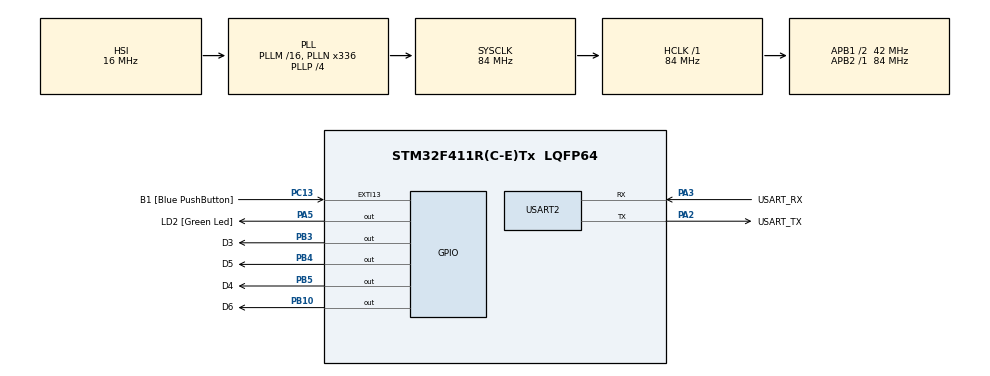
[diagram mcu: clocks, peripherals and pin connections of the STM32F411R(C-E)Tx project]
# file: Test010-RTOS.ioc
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FREERTOS.BinarySemaphores01=myBinarySem01,Dynamic,NULL
FREERTOS.Tasks01=myTask01,0,128,myStartTask01,Default,NULL,Dynamic,NULL,NULL;myTask02,-1,128,myStartTask02,Default,NULL,Dynamic,NULL,NULL;myTask03,-2,128,StartTask03,Default,NULL,Dynamic,NULL,NULL;myTask04,-3,128,StartTask04,Default,NULL,Dynamic,NULL,NULL
FREERTOS.configUSE_NEWLIB_REENTRANT=1
Mcu.Family=STM32F4
Mcu.Name=STM32F411R(C-E)Tx
Mcu.Package=LQFP64
NVIC.EXTI15_10_IRQn=true\:5\:0\:false\:false\:true\:true\:true\:true\:true
NVIC.PriorityGroup=NVIC_PRIORITYGROUP_4
NVIC.TIM1_UP_TIM10_IRQn=true\:15\:0\:false\:false\:true\:false\:false\:true\:true
NVIC.TimeBase=TIM1_UP_TIM10_IRQn
NVIC.TimeBaseIP=TIM10
PA13.GPIO_Label=TMS
PA13.Mode=Serial_Wire
PA13.Signal=SYS_JTMS-SWDIO
PA14.GPIO_Label=TCK
PA14.Mode=Serial_Wire
PA14.Signal=SYS_JTCK-SWCLK
PA2.GPIO_Label=USART_TX
PA2.Mode=Asynchronous
PA2.Signal=USART2_TX
PA3.GPIO_Label=USART_RX
PA3.Mode=Asynchronous
PA3.Signal=USART2_RX
PA5.GPIO_Label=LD2 [Green Led]
PA5.Signal=GPIO_Output
PB10.GPIO_Label=D6
PB10.Signal=GPIO_Output
PB3.GPIO_Label=D3
PB3.Signal=GPIO_Output
PB4.GPIO_Label=D5
PB4.Signal=GPIO_Output
PB5.GPIO_Label=D4
PB5.Signal=GPIO_Output
PC13-ANTI_TAMP.GPIO_Label=B1 [Blue PushButton]
PC13-ANTI_TAMP.GPIO_ModeDefaultEXTI=GPIO_MODE_IT_FALLING
PC13-ANTI_TAMP.Signal=GPXTI13
PC14-OSC32_IN.Mode=LSE-External-Oscillator
PC14-OSC32_IN.Signal=RCC_OSC32_IN
PC15-OSC32_OUT.Mode=LSE-External-Oscillator
PC15-OSC32_OUT.Signal=RCC_OSC32_OUT
PH0\ -\ OSC_IN.Mode=HSE-External-Clock-Source
PH0\ -\ OSC_IN.Signal=RCC_OSC_IN
PH1\ -\ OSC_OUT.Mode=HSE-External-Clock-Source
PH1\ -\ OSC_OUT.Signal=RCC_OSC_OUT
ProjectManager.HeapSize=0x200
ProjectManager.StackSize=0x400
ProjectManager.TargetToolchain=STM32CubeIDE
RCC.48MHZClocksFreq_Value=84000000
RCC.AHBFreq_Value=84000000
RCC.APB1CLKDivider=RCC_HCLK_DIV2
RCC.APB1Freq_Value=42000000
RCC.APB1TimFreq_Value=84000000
RCC.APB2Freq_Value=84000000
RCC.APB2TimFreq_Value=84000000
RCC.CortexFreq_Value=84000000
RCC.FLatency-AdvancedSettings=FLASH_LATENCY_2
RCC.HCLKFreq_Value=84000000
RCC.HSE_VALUE=8000000
RCC.HSI_VALUE=16000000
RCC.PLLN=336
RCC.PLLP=RCC_PLLP_DIV4
RCC.SYSCLKFreq_VALUE=84000000
RCC.SYSCLKSource=RCC_SYSCLKSOURCE_PLLCLK
RCC.VCOOutputFreq_Value=336000000
USART2.VirtualMode=VM_ASYNC
VP_FREERTOS_VS_CMSIS_V1.Mode=CMSIS_V1
VP_SYS_VS_tim10.Mode=TIM10
board=NUCLEO-F411RE

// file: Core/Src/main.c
/* USER CODE BEGIN Header */
/**
  ******************************************************************************
  * @file           : main.c
  * @brief          : Main program body
  ******************************************************************************
  * @attention
  *
  * Copyright (c) 2025 STMicroelectronics.
  * All rights reserved.
  *
  * This software is licensed under terms that can be found in the LICENSE file
  * in the root directory of this software component.
  * If no LICENSE file comes with this software, it is provided AS-IS.
  *
  ******************************************************************************
  */
/* USER CODE END Header */
#include "main.h"
#include "cmsis_os.h"

UART_HandleTypeDef huart2;

osThreadId myTask01Handle;
osThreadId myTask02Handle;
osThreadId myTask03Handle;
osThreadId myTask04Handle;
osSemaphoreId myBinarySem01Handle;

void SystemClock_Config(void);
static void MX_GPIO_Init(void);
static void MX_USART2_UART_Init(void);
void myStartTask01(void const * argument);
void myStartTask02(void const * argument);
void StartTask03(void const * argument);
void StartTask04(void const * argument);

/* USER CODE BEGIN 0 */
int bn = 0, mode = 0, t1 = 0; // mode : 1 button prerssed    0 release
void HAL_GPIO_EXTI_Callback(uint16_t GPIO_Pin)
{
	osSemaphoreRelease(myBinarySem01Handle);
	//mode = 1; t1 = 0;
	//bn++;
}

void LD2Test()
{
	HAL_GPIO_TogglePin(LD2_GPIO_Port, LD2_Pin);
}
void step_wave(int step)
{
	switch(step)
	{
	case 1: // step 1
		HAL_GPIO_WritePin(D3_GPIO_Port, D3_Pin, 1);
		HAL_GPIO_WritePin(D4_GPIO_Port, D4_Pin, 0);
		HAL_GPIO_WritePin(D5_GPIO_Port, D5_Pin, 0);
		HAL_GPIO_WritePin(D6_GPIO_Port, D6_Pin, 0);
		break;
	case 2: // step 2
		HAL_GPIO_WritePin(D3_GPIO_Port, D3_Pin, 0);
		HAL_GPIO_WritePin(D4_GPIO_Port, D4_Pin, 1);
		HAL_GPIO_WritePin(D5_GPIO_Port, D5_Pin, 0);
		HAL_GPIO_WritePin(D6_GPIO_Port, D6_Pin, 0);
		break;
	case 3: // step 3
		HAL_GPIO_WritePin(D3_GPIO_Port, D3_Pin, 0);
		HAL_GPIO_WritePin(D4_GPIO_Port, D4_Pin, 0);
		HAL_GPIO_WritePin(D5_GPIO_Port, D5_Pin, 1);
		HAL_GPIO_WritePin(D6_GPIO_Port, D6_Pin, 0);
		break;
	case 4: // step 4
		HAL_GPIO_WritePin(D3_GPIO_Port, D3_Pin, 0);
		HAL_GPIO_WritePin(D4_GPIO_Port, D4_Pin, 0);
		HAL_GPIO_WritePin(D5_GPIO_Port, D5_Pin, 0);
		HAL_GPIO_WritePin(D6_GPIO_Port, D6_Pin, 1);
		break;
	}
}

/* USER CODE END 0 */

int main(void)
{

  /* MCU Configuration--------------------------------------------------------*/

  /* Reset of all peripherals, Initializes the Flash interface and the Systick. */
  HAL_Init();

  /* Configure the system clock */
  SystemClock_Config();

  /* Initialize all configured peripherals */
  MX_GPIO_Init();
  MX_USART2_UART_Init();

  /* Create the semaphores(s) */
  /* definition and creation of myBinarySem01 */
  osSemaphoreDef(myBinarySem01);
  myBinarySem01Handle = osSemaphoreCreate(osSemaphore(myBinarySem01), 1);

  /* Create the thread(s) */
  /* definition and creation of myTask01 */
  osThreadDef(myTask01, myStartTask01, osPriorityNormal, 0, 128);
  myTask01Handle = osThreadCreate(osThread(myTask01), NULL);

  /* definition and creation of myTask02 */
  osThreadDef(myTask02, myStartTask02, osPriorityBelowNormal, 0, 128);
  myTask02Handle = osThreadCreate(osThread(myTask02), NULL);

  /* definition and creation of myTask03 */
  osThreadDef(myTask03, StartTask03, osPriorityLow, 0, 128);
  myTask03Handle = osThreadCreate(osThread(myTask03), NULL);

  /* definition and creation of myTask04 */
  osThreadDef(myTask04, StartTask04, osPriorityIdle, 0, 128);
  myTask04Handle = osThreadCreate(osThread(myTask04), NULL);

  /* USER CODE BEGIN RTOS_THREADS */
  /* add threads, ... */
  ProgramStart("RTOS test.....");
  osSemaphoreRelease(myBinarySem01Handle);
  /* USER CODE END RTOS_THREADS */

  /* Start scheduler */
  osKernelStart();

  /* We should never get here as control is now taken by the scheduler */
  /* Infinite loop */
  /* USER CODE BEGIN WHILE */
  while (1)
  {
	  LD2Test();
//	  osDelay(500);
//	  HAL_Delay(500);
    /* USER CODE END WHILE */

  }
}

void SystemClock_Config(void)
{
  RCC_OscInitTypeDef RCC_OscInitStruct = {0};
  RCC_ClkInitTypeDef RCC_ClkInitStruct = {0};

  /** Configure the main internal regulator output voltage
  */
  __HAL_RCC_PWR_CLK_ENABLE();
  __HAL_PWR_VOLTAGESCALING_CONFIG(PWR_REGULATOR_VOLTAGE_SCALE1);

  /** Initializes the RCC Oscillators according to the specified parameters
  * in the RCC_OscInitTypeDef structure.
  */
  RCC_OscInitStruct.OscillatorType = RCC_OSCILLATORTYPE_HSI;
  RCC_OscInitStruct.HSIState = RCC_HSI_ON;
  RCC_OscInitStruct.HSICalibrationValue = RCC_HSICALIBRATION_DEFAULT;
  RCC_OscInitStruct.PLL.PLLState = RCC_PLL_ON;
  RCC_OscInitStruct.PLL.PLLSource = RCC_PLLSOURCE_HSI;
  RCC_OscInitStruct.PLL.PLLM = 16;
  RCC_OscInitStruct.PLL.PLLN = 336;
  RCC_OscInitStruct.PLL.PLLP = RCC_PLLP_DIV4;
  RCC_OscInitStruct.PLL.PLLQ = 4;
  if (HAL_RCC_OscConfig(&RCC_OscInitStruct) != HAL_OK)
  {
    Error_Handler();
  }

  /** Initializes the CPU, AHB and APB buses clocks
  */
  RCC_ClkInitStruct.ClockType = RCC_CLOCKTYPE_HCLK|RCC_CLOCKTYPE_SYSCLK
                              |RCC_CLOCKTYPE_PCLK1|RCC_CLOCKTYPE_PCLK2;
  RCC_ClkInitStruct.SYSCLKSource = RCC_SYSCLKSOURCE_PLLCLK;
  RCC_ClkInitStruct.AHBCLKDivider = RCC_SYSCLK_DIV1;
  RCC_ClkInitStruct.APB1CLKDivider = RCC_HCLK_DIV2;
  RCC_ClkInitStruct.APB2CLKDivider = RCC_HCLK_DIV1;

  if (HAL_RCC_ClockConfig(&RCC_ClkInitStruct, FLASH_LATENCY_2) != HAL_OK)
  {
    Error_Handler();
  }
}

static void MX_USART2_UART_Init(void)
{

  huart2.Instance = USART2;
  huart2.Init.BaudRate = 115200;
  huart2.Init.WordLength = UART_WORDLENGTH_8B;
  huart2.Init.StopBits = UART_STOPBITS_1;
  huart2.Init.Parity = UART_PARITY_NONE;
  huart2.Init.Mode = UART_MODE_TX_RX;
  huart2.Init.HwFlowCtl = UART_HWCONTROL_NONE;
  huart2.Init.OverSampling = UART_OVERSAMPLING_16;
  if (HAL_UART_Init(&huart2) != HAL_OK)
  {
    Error_Handler();
  }

}

static void MX_GPIO_Init(void)
{
  GPIO_InitTypeDef GPIO_InitStruct = {0};

  /* GPIO Ports Clock Enable */
  __HAL_RCC_GPIOC_CLK_ENABLE();
  __HAL_RCC_GPIOH_CLK_ENABLE();
  __HAL_RCC_GPIOA_CLK_ENABLE();
  __HAL_RCC_GPIOB_CLK_ENABLE();

  /*Configure GPIO pin Output Level */
  HAL_GPIO_WritePin(LD2_GPIO_Port, LD2_Pin, GPIO_PIN_RESET);

  /*Configure GPIO pin Output Level */
  HAL_GPIO_WritePin(GPIOB, D6_Pin|D3_Pin|D5_Pin|D4_Pin, GPIO_PIN_RESET);

  /*Configure GPIO pin : B1_Pin */
  GPIO_InitStruct.Pin = B1_Pin;
  GPIO_InitStruct.Mode = GPIO_MODE_IT_FALLING;
  GPIO_InitStruct.Pull = GPIO_NOPULL;
  HAL_GPIO_Init(B1_GPIO_Port, &GPIO_InitStruct);

  /*Configure GPIO pin : LD2_Pin */
  GPIO_InitStruct.Pin = LD2_Pin;
  GPIO_InitStruct.Mode = GPIO_MODE_OUTPUT_PP;
  GPIO_InitStruct.Pull = GPIO_NOPULL;
  GPIO_InitStruct.Speed = GPIO_SPEED_FREQ_LOW;
  HAL_GPIO_Init(LD2_GPIO_Port, &GPIO_InitStruct);

  /*Configure GPIO pins : D6_Pin D3_Pin D5_Pin D4_Pin */
  GPIO_InitStruct.Pin = D6_Pin|D3_Pin|D5_Pin|D4_Pin;
  GPIO_InitStruct.Mode = GPIO_MODE_OUTPUT_PP;
  GPIO_InitStruct.Pull = GPIO_NOPULL;
  GPIO_InitStruct.Speed = GPIO_SPEED_FREQ_LOW;
  HAL_GPIO_Init(GPIOB, &GPIO_InitStruct);

  /* EXTI interrupt init*/
  HAL_NVIC_SetPriority(EXTI15_10_IRQn, 5, 0);
  HAL_NVIC_EnableIRQ(EXTI15_10_IRQn);

}

/* USER CODE BEGIN Header_myStartTask01 */
/**
  * @brief  Function implementing the myTask01 thread.
  * @param  argument: Not used
  * @retval None
  */
//int n1=0;
/* USER CODE END Header_myStartTask01 */
void myStartTask01(void const * argument)
{
  /* USER CODE BEGIN 5 */
  /* Infinite loop */
  int n1=0;
  for(;;)
  {
	  if(osSemaphoreWait(myBinarySem01Handle, 0) == osOK)
	  {
		  printf("Task 01 (Normal) --------------------------\r\n"); HAL_Delay(100);
		  osSemaphoreRelease(myBinarySem01Handle);
	  }
	 // LD2Test();
	 // Cursor(0,0);
	 // printf("LD2 flashed %d times(Task_1)  ",n1++);
	  //HAL_Delay(500);
     // osDelay(500); // Task ?��?��
      osDelay(1);
  }
  /* USER CODE END 5 */
}

/* USER CODE BEGIN Header_myStartTask02 */
/**
* @brief Function implementing the myTask02 thread.
* @param argument: Not used
* @retval None
*/
int n2=0;
/* USER CODE END Header_myStartTask02 */
void myStartTask02(void const * argument)
{
  /* USER CODE BEGIN myStartTask02 */
  /* Infinite loop */
  int n = 0;
  for(;;)
  {
	/*  int d; // degree angle
	  Cursor(0,10);
	  //for(int i=1;i<=256;i++) step_wave(i);
	  if(mode)
	  {
		  //printf("B1 button pressed.....%d times\r\n", bn);
		  step_wave((t1 % 4) + 1);
		  if(++t1 > 256) { t1 = 0; mode = 0; }
	  }
	  else
		  printf("                                       "); */
	  //printf("Input Degree : "); scanf("%d", &d);
	  //int step = 4096 * d / 360;
	  //printf("Wave(Full) : %d steps,  Half : %d steps", step/2, step);
	  if(osSemaphoreWait(myBinarySem01Handle, 0) == osOK)
	  {
		  printf("Task 02 (BelowNormal) ---------------------\r\n"); HAL_Delay(50);
		  osSemaphoreRelease(myBinarySem01Handle);
	  }
      osDelay(1);
  }
  /* USER CODE END myStartTask02 */
}

void StartTask03(void const * argument)
{
  /* USER CODE BEGIN StartTask03 */
  /* Infinite loop */
  for(;;)
  {
	  if(osSemaphoreWait(myBinarySem01Handle, 0) == osOK)
	  {
		  printf("Task 03 (Low) ----------------\r\n"); HAL_Delay(20);
		  osSemaphoreRelease(myBinarySem01Handle);
	  }
	  osDelay(1);
  }
  /* USER CODE END StartTask03 */
}

void StartTask04(void const * argument)
{
  /* USER CODE BEGIN StartTask04 */
  /* Infinite loop */
  for(;;)
  {
	  if(osSemaphoreWait(myBinarySem01Handle, 0) == osOK)
	  {
		  printf("Task 04 (Idle) -----------\r\n"); HAL_Delay(10);
		  //osSemaphoreRelease(myBinarySem01Handle);
	  }
	  osDelay(1);
  }
  /* USER CODE END StartTask04 */
}

void HAL_TIM_PeriodElapsedCallback(TIM_HandleTypeDef *htim)
{
  if (htim->Instance == TIM10) {
    HAL_IncTick();
  }
}

void Error_Handler(void)
{
  __disable_irq();
  while (1)
  {
  }
}
